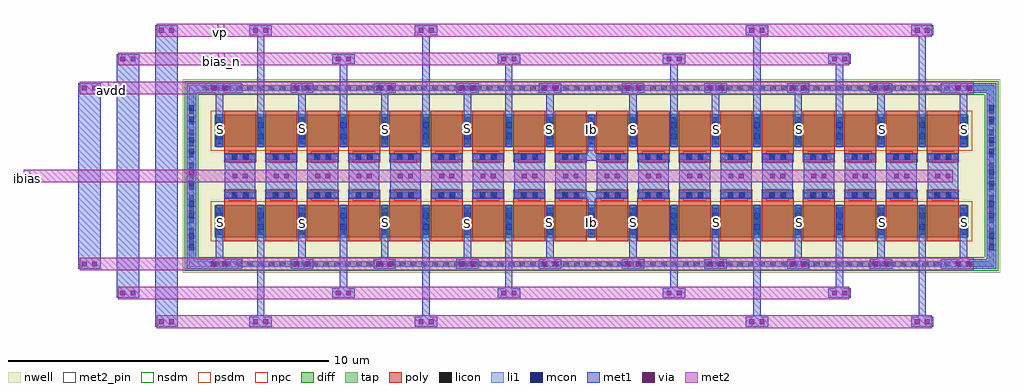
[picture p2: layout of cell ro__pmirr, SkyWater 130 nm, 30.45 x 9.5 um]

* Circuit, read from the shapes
.subckt ro__pmirr avdd bias_n ibias vp
XM1 vp ibias avdd avdd sky130_fd_pr__pfet_01v8 w=1 l=1 m=16
XM2 bias_n ibias avdd avdd sky130_fd_pr__pfet_01v8 w=1 l=1 m=16
XM3 ibias ibias avdd avdd sky130_fd_pr__pfet_01v8 w=1 l=1 m=4
.ends

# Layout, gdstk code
from math import pi, radians
import gdstk
lib = gdstk.Library(unit=1e-6, precision=1e-09)
def R(c, l, rs):  # rectangles x0, y0, x1, y1
    for r in rs: c.add(gdstk.rectangle(r[:2], r[2:], *l))
def A(c, l, x, y, w, h, nx, ny, dx, dy):  # array of equal rectangles
    R(c, l, [(x+i*dx, y+j*dy, x+i*dx+w, y+j*dy+h) for i in range(nx) for j in range(ny)])
nwell = (64, 20)
diff = (65, 20)
tap = (65, 44)
poly = (66, 20)
licon = (66, 44)
li1 = (67, 20)
mcon = (67, 44)
met1 = (68, 20)
via = (68, 44)
met2_pin = (69, 16)
met2 = (69, 20)
nsdm = (93, 44)
psdm = (94, 20)
npc = (95, 20)

ropm__m2 = lib.new_cell('ropm__M2')
R(ropm__m2, nwell, [(-0.97,-0.99,0.97,0.82)])
R(ropm__m2, diff, [(-0.79,-0.68,0.79,0.32)])
R(ropm__m2, poly, [(-0.5,-0.81,0.5,0.805)])
A(ropm__m2, licon, -0.73, -0.605, 0.17, 0.17, 1, 3, 0, 0.34)
A(ropm__m2, licon, 0.56, -0.605, 0.17, 0.17, 1, 3, 0, 0.34)
R(ropm__m2, licon, [(-0.255,0.555,-0.085,0.725), (0.085,0.555,0.255,0.725)])
R(ropm__m2, li1, [(-0.73,-0.7,-0.56,0.34), (0.56,-0.7,0.73,0.34), (-0.5,0.555,0.5,0.725)])
R(ropm__m2, mcon, [(-0.73,-0.445,-0.56,-0.275), (0.56,-0.445,0.73,-0.275), (-0.73,-0.085,-0.56,0.085), (0.56,-0.085,0.73,0.085), (-0.265,0.555,-0.095,0.725), (0.095,0.555,0.265,0.725)])
R(ropm__m2, met1, [(-0.76,-0.68,-0.53,0.32), (0.53,-0.68,0.76,0.32), (-0.48,0.525,0.48,0.755)])
R(ropm__m2, psdm, [(-0.915,-0.805,0.915,0.445)])
R(ropm__m2, npc, [(-0.355,0.455,0.355,0.825)])

via__m1_m2 = lib.new_cell('via__M1_M2')
R(via__m1_m2, met1, [(0,0.05,0.7,0.35)])
R(via__m1_m2, via, [(0.115,0.125,0.265,0.275), (0.435,0.125,0.585,0.275)])
R(via__m1_m2, met2, [(0.05,0,0.65,0.4)])

ropm__guardring_p = lib.new_cell('ropm__Guardring_P')
A(ropm__guardring_p, licon, -7.555, -25.51, 0.17, 0.17, 70, 1, 0.34, 0)
A(ropm__guardring_p, licon, -8.355, -24.81, 0.17, 0.17, 1, 13, 0, 0.34)
A(ropm__guardring_p, licon, 16.605, -24.81, 0.17, 0.17, 1, 13, 0, 0.34)
A(ropm__guardring_p, licon, -7.895, -20.015, 0.17, 0.17, 71, 1, 0.34, 0)
ropm__guardring_p.add(gdstk.FlexPath([(-8.355,-19.93),(16.69,-19.93),(16.69,-25.425),(-8.27,-25.425),(-8.27,-19.93)], 0.17, ends="flush", simple_path=True, layer=67, datatype=20))  # li1
ropm__guardring_p.add(gdstk.FlexPath([(-8.48,-19.93),(16.69,-19.93),(16.69,-25.425),(-8.27,-25.425),(-8.27,-19.93)], 0.42, ends="flush", simple_path=True, layer=93, datatype=44))  # nsdm
ropm__guardring_p.add(gdstk.FlexPath([(-8.355,-19.93),(16.69,-19.93),(16.69,-25.425),(-8.27,-25.425),(-8.27,-19.93)], 0.17, ends="flush", simple_path=True, layer=65, datatype=44))  # tap
ropm__guardring_p.add(gdstk.FlexPath([(-8.535,-19.93),(16.69,-19.93),(16.69,-25.425),(-8.27,-25.425),(-8.27,-19.93)], 0.53, ends="flush", simple_path=True, layer=64, datatype=20))  # nwell

via__li_m1 = lib.new_cell('via__LI_M1')
R(via__li_m1, li1, [(0.03,0.03,0.56,0.2)])
R(via__li_m1, mcon, [(0.03,0.03,0.2,0.2), (0.39,0.03,0.56,0.2)])
R(via__li_m1, met1, [(0,0,0.59,0.23)])

ropm__m1 = lib.new_cell('ropm__M1')
R(ropm__m1, nwell, [(-0.97,-0.99,0.97,0.82)])
R(ropm__m1, diff, [(-0.79,-0.68,0.79,0.32)])
R(ropm__m1, poly, [(-0.5,-0.81,0.5,0.805)])
A(ropm__m1, licon, -0.73, -0.605, 0.17, 0.17, 1, 3, 0, 0.34)
A(ropm__m1, licon, 0.56, -0.605, 0.17, 0.17, 1, 3, 0, 0.34)
R(ropm__m1, licon, [(-0.255,0.555,-0.085,0.725), (0.085,0.555,0.255,0.725)])
R(ropm__m1, li1, [(-0.73,-0.7,-0.56,0.34), (0.56,-0.7,0.73,0.34), (-0.5,0.555,0.5,0.725)])
R(ropm__m1, mcon, [(-0.73,-0.445,-0.56,-0.275), (0.56,-0.445,0.73,-0.275), (-0.73,-0.085,-0.56,0.085), (0.56,-0.085,0.73,0.085), (-0.265,0.555,-0.095,0.725), (0.095,0.555,0.265,0.725)])
R(ropm__m1, met1, [(-0.76,-0.68,-0.53,0.32), (0.53,-0.68,0.76,0.32), (-0.48,0.525,0.48,0.755)])
R(ropm__m1, psdm, [(-0.915,-0.805,0.915,0.445)])
R(ropm__m1, npc, [(-0.355,0.455,0.355,0.825)])

ropm__m3 = lib.new_cell('ropm__M3')
R(ropm__m3, nwell, [(-0.97,-0.99,0.97,0.82)])
R(ropm__m3, diff, [(-0.79,-0.68,0.79,0.32)])
R(ropm__m3, poly, [(-0.5,-0.81,0.5,0.805)])
A(ropm__m3, licon, -0.73, -0.605, 0.17, 0.17, 1, 3, 0, 0.34)
A(ropm__m3, licon, 0.56, -0.605, 0.17, 0.17, 1, 3, 0, 0.34)
R(ropm__m3, licon, [(-0.255,0.555,-0.085,0.725), (0.085,0.555,0.255,0.725)])
R(ropm__m3, li1, [(-0.73,-0.7,-0.56,0.34), (0.56,-0.7,0.73,0.34), (-0.5,0.555,0.5,0.725)])
R(ropm__m3, mcon, [(-0.73,-0.445,-0.56,-0.275), (0.56,-0.445,0.73,-0.275), (-0.73,-0.085,-0.56,0.085), (0.56,-0.085,0.73,0.085), (-0.265,0.555,-0.095,0.725), (0.095,0.555,0.265,0.725)])
R(ropm__m3, met1, [(-0.76,-0.68,-0.53,0.32), (0.53,-0.68,0.76,0.32), (-0.48,0.525,0.48,0.755)])
R(ropm__m3, psdm, [(-0.915,-0.805,0.915,0.445)])
R(ropm__m3, npc, [(-0.355,0.455,0.355,0.825)])

ro__pmirr = lib.new_cell('ro__pmirr')
R(ro__pmirr, nwell, [(5,1.735,30.49,7.76)])
A(ro__pmirr, met1, 6.3, 4.04, 0.96, 1.415, 18, 1, 1.29, 0)
R(ro__pmirr, met1, [(4.13,0.05,4.83,9.445), (2.93,0.95,3.63,8.545), (1.73,1.85,2.43,7.645)])
R(ro__pmirr, met2_pin, [(0.04,4.55,0.24,4.95), (2.665,7.295,2.865,7.695), (6.1,8.195,6.3,8.595), (6.085,9.095,6.285,9.495)])
ro__pmirr.add(gdstk.FlexPath([(17.745,3.835),(17.745,4.155),(17.58,4.155)], 0.23, ends="extended", simple_path=True, layer=68, datatype=20))  # met1
ro__pmirr.add(gdstk.FlexPath([(17.745,3.835),(17.745,4.155),(17.91,4.155)], 0.23, ends="extended", simple_path=True, layer=68, datatype=20))  # met1
ro__pmirr.add(gdstk.FlexPath([(11.295,3.72),(11.295,1.965)], 0.23, ends="extended", simple_path=True, layer=68, datatype=20))  # met1
ro__pmirr.add(gdstk.FlexPath([(13.875,3.72),(13.875,1.965)], 0.23, ends="extended", simple_path=True, layer=68, datatype=20))  # met1
ro__pmirr.add(gdstk.FlexPath([(16.455,3.72),(16.455,1.965)], 0.23, ends="extended", simple_path=True, layer=68, datatype=20))  # met1
ro__pmirr.add(gdstk.FlexPath([(19.035,3.72),(19.035,1.965)], 0.23, ends="extended", simple_path=True, layer=68, datatype=20))  # met1
ro__pmirr.add(gdstk.FlexPath([(21.615,3.72),(21.615,1.965)], 0.23, ends="extended", simple_path=True, layer=68, datatype=20))  # met1
ro__pmirr.add(gdstk.FlexPath([(24.195,3.72),(24.195,1.965)], 0.23, ends="extended", simple_path=True, layer=68, datatype=20))  # met1
ro__pmirr.add(gdstk.FlexPath([(6.135,3.72),(6.135,1.965)], 0.23, ends="extended", simple_path=True, layer=68, datatype=20))  # met1
ro__pmirr.add(gdstk.FlexPath([(26.775,3.72),(26.775,1.965)], 0.23, ends="extended", simple_path=True, layer=68, datatype=20))  # met1
ro__pmirr.add(gdstk.FlexPath([(29.355,3.72),(29.355,1.965)], 0.23, ends="extended", simple_path=True, layer=68, datatype=20))  # met1
ro__pmirr.add(gdstk.FlexPath([(8.715,3.72),(8.715,1.965)], 0.23, ends="extended", simple_path=True, layer=68, datatype=20))  # met1
ro__pmirr.add(gdstk.FlexPath([(15.165,3.72),(15.165,1.065)], 0.23, ends="extended", simple_path=True, layer=68, datatype=20))  # met1
ro__pmirr.add(gdstk.FlexPath([(20.325,3.72),(20.325,1.065)], 0.23, ends="extended", simple_path=True, layer=68, datatype=20))  # met1
ro__pmirr.add(gdstk.FlexPath([(10.005,3.72),(10.005,1.065)], 0.23, ends="extended", simple_path=True, layer=68, datatype=20))  # met1
ro__pmirr.add(gdstk.FlexPath([(25.485,3.72),(25.485,1.065)], 0.23, ends="extended", simple_path=True, layer=68, datatype=20))  # met1
ro__pmirr.add(gdstk.FlexPath([(7.425,3.72),(7.425,0.165)], 0.23, ends="extended", simple_path=True, layer=68, datatype=20))  # met1
ro__pmirr.add(gdstk.FlexPath([(12.585,3.72),(12.585,0.165)], 0.23, ends="extended", simple_path=True, layer=68, datatype=20))  # met1
ro__pmirr.add(gdstk.FlexPath([(22.905,3.72),(22.905,0.165)], 0.23, ends="extended", simple_path=True, layer=68, datatype=20))  # met1
ro__pmirr.add(gdstk.FlexPath([(28.065,3.72),(28.065,0.165)], 0.23, ends="extended", simple_path=True, layer=68, datatype=20))  # met1
ro__pmirr.add(gdstk.FlexPath([(17.745,5.66),(17.745,5.34),(17.58,5.34)], 0.23, ends="extended", simple_path=True, layer=68, datatype=20))  # met1
ro__pmirr.add(gdstk.FlexPath([(17.745,5.66),(17.745,5.34),(17.91,5.34)], 0.23, ends="extended", simple_path=True, layer=68, datatype=20))  # met1
ro__pmirr.add(gdstk.FlexPath([(11.295,5.775),(11.295,7.53)], 0.23, ends="extended", simple_path=True, layer=68, datatype=20))  # met1
ro__pmirr.add(gdstk.FlexPath([(13.875,5.775),(13.875,7.53)], 0.23, ends="extended", simple_path=True, layer=68, datatype=20))  # met1
ro__pmirr.add(gdstk.FlexPath([(16.455,5.775),(16.455,7.53)], 0.23, ends="extended", simple_path=True, layer=68, datatype=20))  # met1
ro__pmirr.add(gdstk.FlexPath([(19.035,5.775),(19.035,7.53)], 0.23, ends="extended", simple_path=True, layer=68, datatype=20))  # met1
ro__pmirr.add(gdstk.FlexPath([(21.615,5.775),(21.615,7.53)], 0.23, ends="extended", simple_path=True, layer=68, datatype=20))  # met1
ro__pmirr.add(gdstk.FlexPath([(24.195,5.775),(24.195,7.53)], 0.23, ends="extended", simple_path=True, layer=68, datatype=20))  # met1
ro__pmirr.add(gdstk.FlexPath([(6.135,5.775),(6.135,7.53)], 0.23, ends="extended", simple_path=True, layer=68, datatype=20))  # met1
ro__pmirr.add(gdstk.FlexPath([(26.775,5.775),(26.775,7.53)], 0.23, ends="extended", simple_path=True, layer=68, datatype=20))  # met1
ro__pmirr.add(gdstk.FlexPath([(29.355,5.775),(29.355,7.53)], 0.23, ends="extended", simple_path=True, layer=68, datatype=20))  # met1
ro__pmirr.add(gdstk.FlexPath([(8.715,5.775),(8.715,7.53)], 0.23, ends="extended", simple_path=True, layer=68, datatype=20))  # met1
ro__pmirr.add(gdstk.FlexPath([(15.165,5.775),(15.165,8.43)], 0.23, ends="extended", simple_path=True, layer=68, datatype=20))  # met1
ro__pmirr.add(gdstk.FlexPath([(20.325,5.775),(20.325,8.43)], 0.23, ends="extended", simple_path=True, layer=68, datatype=20))  # met1
ro__pmirr.add(gdstk.FlexPath([(10.005,5.775),(10.005,8.43)], 0.23, ends="extended", simple_path=True, layer=68, datatype=20))  # met1
ro__pmirr.add(gdstk.FlexPath([(25.485,5.775),(25.485,8.43)], 0.23, ends="extended", simple_path=True, layer=68, datatype=20))  # met1
ro__pmirr.add(gdstk.FlexPath([(7.425,5.775),(7.425,9.33)], 0.23, ends="extended", simple_path=True, layer=68, datatype=20))  # met1
ro__pmirr.add(gdstk.FlexPath([(12.585,5.775),(12.585,9.33)], 0.23, ends="extended", simple_path=True, layer=68, datatype=20))  # met1
ro__pmirr.add(gdstk.FlexPath([(22.905,5.775),(22.905,9.33)], 0.23, ends="extended", simple_path=True, layer=68, datatype=20))  # met1
ro__pmirr.add(gdstk.FlexPath([(28.065,5.775),(28.065,9.33)], 0.23, ends="extended", simple_path=True, layer=68, datatype=20))  # met1
ro__pmirr.add(gdstk.FlexPath([(6.7,7.495),(5.265,7.495),(5.265,2),(6.7,2)], 0.3, ends="extended", simple_path=True, layer=68, datatype=20))  # met1
ro__pmirr.add(gdstk.FlexPath([(28.79,7.495),(30.225,7.495),(30.225,2),(28.79,2)], 0.3, ends="extended", simple_path=True, layer=68, datatype=20))  # met1
ro__pmirr.add(gdstk.FlexPath([(29.47,7.495),(1.98,7.495)], 0.4, ends="extended", simple_path=True, layer=69, datatype=20))  # met2
ro__pmirr.add(gdstk.FlexPath([(29.47,2),(1.98,2)], 0.4, ends="extended", simple_path=True, layer=69, datatype=20))  # met2
ro__pmirr.add(gdstk.FlexPath([(28.81,4.75),(0.24,4.75)], 0.4, ends="extended", simple_path=True, layer=69, datatype=20))  # met2
ro__pmirr.add(gdstk.FlexPath([(25.585,8.395),(3.18,8.395)], 0.4, ends="extended", simple_path=True, layer=69, datatype=20))  # met2
ro__pmirr.add(gdstk.FlexPath([(25.585,1.1),(3.18,1.1)], 0.4, ends="extended", simple_path=True, layer=69, datatype=20))  # met2
ro__pmirr.add(gdstk.FlexPath([(28.165,9.295),(4.38,9.295)], 0.4, ends="extended", simple_path=True, layer=69, datatype=20))  # met2
ro__pmirr.add(gdstk.FlexPath([(28.165,0.2),(4.38,0.2)], 0.4, ends="extended", simple_path=True, layer=69, datatype=20))  # met2
ro__pmirr.add(gdstk.Reference(ropm__m2, (15.81,3.515)))
ro__pmirr.add(gdstk.Reference(ropm__m2, (15.81,5.98), x_reflection=True))
ro__pmirr.add(gdstk.Reference(via__m1_m2, (16.805,7.695), rotation=pi))
ro__pmirr.add(gdstk.Reference(via__m1_m2, (16.805,2.2), rotation=pi))
ro__pmirr.add(gdstk.Reference(via__m1_m2, (7.13,4.95), rotation=pi))
ro__pmirr.add(gdstk.Reference(via__m1_m2, (8.42,4.95), rotation=pi))
ro__pmirr.add(gdstk.Reference(via__m1_m2, (9.71,4.95), rotation=pi))
ro__pmirr.add(gdstk.Reference(via__m1_m2, (11,4.95), rotation=pi))
ro__pmirr.add(gdstk.Reference(via__m1_m2, (12.29,4.95), rotation=pi))
ro__pmirr.add(gdstk.Reference(via__m1_m2, (13.58,4.95), rotation=pi))
ro__pmirr.add(gdstk.Reference(via__m1_m2, (14.87,4.95), rotation=pi))
ro__pmirr.add(gdstk.Reference(via__m1_m2, (16.16,4.95), rotation=pi))
ro__pmirr.add(gdstk.Reference(via__m1_m2, (17.45,4.95), rotation=pi))
ro__pmirr.add(gdstk.Reference(via__m1_m2, (18.74,4.95), rotation=pi))
ro__pmirr.add(gdstk.Reference(via__m1_m2, (20.03,4.95), rotation=pi))
ro__pmirr.add(gdstk.Reference(via__m1_m2, (21.32,4.95), rotation=pi))
ro__pmirr.add(gdstk.Reference(via__m1_m2, (22.61,4.95), rotation=pi))
ro__pmirr.add(gdstk.Reference(via__m1_m2, (23.9,4.95), rotation=pi))
ro__pmirr.add(gdstk.Reference(via__m1_m2, (25.19,4.95), rotation=pi))
ro__pmirr.add(gdstk.Reference(via__m1_m2, (26.48,4.95), rotation=pi))
ro__pmirr.add(gdstk.Reference(via__m1_m2, (27.77,4.95), rotation=pi))
ro__pmirr.add(gdstk.Reference(via__m1_m2, (29.06,4.95), rotation=pi))
ro__pmirr.add(gdstk.Reference(ropm__guardring_p, (13.535,27.425)))
ro__pmirr.add(gdstk.Reference(via__li_m1, (5.15,4.985), rotation=3*pi/2))
ro__pmirr.add(gdstk.Reference(via__li_m1, (30.11,4.985), rotation=3*pi/2))
ro__pmirr.add(gdstk.Reference(ropm__m1, (17.1,5.98), x_reflection=True))
ro__pmirr.add(gdstk.Reference(ropm__m1, (18.39,5.98), x_reflection=True))
ro__pmirr.add(gdstk.Reference(ropm__m2, (20.97,5.98), x_reflection=True))
ro__pmirr.add(gdstk.Reference(via__m1_m2, (19.385,7.695), rotation=pi))
ro__pmirr.add(gdstk.Reference(via__m1_m2, (21.965,7.695), rotation=pi))
ro__pmirr.add(gdstk.Reference(via__m1_m2, (24.545,7.695), rotation=pi))
ro__pmirr.add(gdstk.Reference(via__m1_m2, (27.125,7.695), rotation=pi))
ro__pmirr.add(gdstk.Reference(via__m1_m2, (29.705,7.695), rotation=pi))
ro__pmirr.add(gdstk.Reference(ropm__m2, (19.68,5.98), x_reflection=True))
ro__pmirr.add(gdstk.Reference(ropm__m3, (23.55,5.98), x_reflection=True))
ro__pmirr.add(gdstk.Reference(ropm__m3, (22.26,5.98), x_reflection=True))
ro__pmirr.add(gdstk.Reference(ropm__m2, (26.13,5.98), x_reflection=True))
ro__pmirr.add(gdstk.Reference(via__m1_m2, (20.675,8.595), rotation=pi))
ro__pmirr.add(gdstk.Reference(via__m1_m2, (25.835,8.595), rotation=pi))
ro__pmirr.add(gdstk.Reference(via__m1_m2, (23.255,9.495), rotation=pi))
ro__pmirr.add(gdstk.Reference(via__m1_m2, (28.415,9.495), rotation=pi))
ro__pmirr.add(gdstk.Reference(ropm__m2, (24.84,5.98), x_reflection=True))
ro__pmirr.add(gdstk.Reference(ropm__m3, (28.71,5.98), x_reflection=True))
ro__pmirr.add(gdstk.Reference(via__li_m1, (30.11,6.985), rotation=3*pi/2))
ro__pmirr.add(gdstk.Reference(via__li_m1, (30.11,5.985), rotation=3*pi/2))
ro__pmirr.add(gdstk.Reference(ropm__m3, (27.42,5.98), x_reflection=True))
ro__pmirr.add(gdstk.Reference(via__li_m1, (16.75,7.61), rotation=pi))
ro__pmirr.add(gdstk.Reference(via__li_m1, (19.33,7.61), rotation=pi))
ro__pmirr.add(gdstk.Reference(via__li_m1, (21.91,7.61), rotation=pi))
ro__pmirr.add(gdstk.Reference(via__li_m1, (24.49,7.61), rotation=pi))
ro__pmirr.add(gdstk.Reference(via__li_m1, (27.07,7.61), rotation=pi))
ro__pmirr.add(gdstk.Reference(via__li_m1, (29.65,7.61), rotation=pi))
ro__pmirr.add(gdstk.Reference(via__m1_m2, (7.775,9.495), rotation=pi))
ro__pmirr.add(gdstk.Reference(via__m1_m2, (12.935,9.495), rotation=pi))
ro__pmirr.add(gdstk.Reference(ropm__m3, (13.23,5.98), x_reflection=True))
ro__pmirr.add(gdstk.Reference(ropm__m3, (11.94,5.98), x_reflection=True))
ro__pmirr.add(gdstk.Reference(via__m1_m2, (4.83,9.495), rotation=pi))
ro__pmirr.add(gdstk.Reference(via__m1_m2, (3.63,8.595), rotation=pi))
ro__pmirr.add(gdstk.Reference(via__m1_m2, (2.43,7.695), rotation=pi))
ro__pmirr.add(gdstk.Reference(via__m1_m2, (6.485,7.695), rotation=pi))
ro__pmirr.add(gdstk.Reference(via__li_m1, (5.15,6.985), rotation=3*pi/2))
ro__pmirr.add(gdstk.Reference(via__li_m1, (5.15,5.985), rotation=3*pi/2))
ro__pmirr.add(gdstk.Reference(via__m1_m2, (9.065,7.695), rotation=pi))
ro__pmirr.add(gdstk.Reference(via__m1_m2, (11.645,7.695), rotation=pi))
ro__pmirr.add(gdstk.Reference(via__m1_m2, (14.225,7.695), rotation=pi))
ro__pmirr.add(gdstk.Reference(ropm__m2, (14.52,5.98), x_reflection=True))
ro__pmirr.add(gdstk.Reference(via__li_m1, (5.15,6.985), rotation=3*pi/2))
ro__pmirr.add(gdstk.Reference(via__li_m1, (6.43,7.61), rotation=pi))
ro__pmirr.add(gdstk.Reference(via__li_m1, (6.43,7.61), rotation=pi))
ro__pmirr.add(gdstk.Reference(via__li_m1, (9.01,7.61), rotation=pi))
ro__pmirr.add(gdstk.Reference(via__li_m1, (11.59,7.61), rotation=pi))
ro__pmirr.add(gdstk.Reference(via__li_m1, (14.17,7.61), rotation=pi))
ro__pmirr.add(gdstk.Reference(ropm__m2, (10.65,5.98), x_reflection=True))
ro__pmirr.add(gdstk.Reference(ropm__m2, (9.36,5.98), x_reflection=True))
ro__pmirr.add(gdstk.Reference(via__m1_m2, (10.355,8.595), rotation=pi))
ro__pmirr.add(gdstk.Reference(via__m1_m2, (15.515,8.595), rotation=pi))
ro__pmirr.add(gdstk.Reference(ropm__m3, (8.07,5.98), x_reflection=True))
ro__pmirr.add(gdstk.Reference(ropm__m3, (6.78,5.98), x_reflection=True))
ro__pmirr.add(gdstk.Reference(via__m1_m2, (11.645,2.2), rotation=pi))
ro__pmirr.add(gdstk.Reference(via__m1_m2, (14.225,2.2), rotation=pi))
ro__pmirr.add(gdstk.Reference(ropm__m2, (14.52,3.515)))
ro__pmirr.add(gdstk.Reference(via__li_m1, (5.15,3.985), rotation=3*pi/2))
ro__pmirr.add(gdstk.Reference(via__li_m1, (5.15,2.985), rotation=3*pi/2))
ro__pmirr.add(gdstk.Reference(via__m1_m2, (10.355,1.3), rotation=pi))
ro__pmirr.add(gdstk.Reference(via__m1_m2, (15.515,1.3), rotation=pi))
ro__pmirr.add(gdstk.Reference(via__m1_m2, (7.775,0.4), rotation=pi))
ro__pmirr.add(gdstk.Reference(ropm__m3, (13.23,3.515)))
ro__pmirr.add(gdstk.Reference(ropm__m3, (11.94,3.515)))
ro__pmirr.add(gdstk.Reference(ropm__m2, (10.65,3.515)))
ro__pmirr.add(gdstk.Reference(ropm__m2, (9.36,3.515)))
ro__pmirr.add(gdstk.Reference(via__m1_m2, (12.935,0.4), rotation=pi))
ro__pmirr.add(gdstk.Reference(via__m1_m2, (4.83,0.4), rotation=pi))
ro__pmirr.add(gdstk.Reference(ropm__m3, (8.07,3.515)))
ro__pmirr.add(gdstk.Reference(via__m1_m2, (3.63,1.3), rotation=pi))
ro__pmirr.add(gdstk.Reference(ropm__m3, (6.78,3.515)))
ro__pmirr.add(gdstk.Reference(via__m1_m2, (2.43,2.2), rotation=pi))
ro__pmirr.add(gdstk.Reference(via__m1_m2, (6.485,2.2), rotation=pi))
ro__pmirr.add(gdstk.Reference(via__m1_m2, (9.065,2.2), rotation=pi))
ro__pmirr.add(gdstk.Reference(via__li_m1, (6.43,2.115), rotation=pi))
ro__pmirr.add(gdstk.Reference(via__li_m1, (9.01,2.115), rotation=pi))
ro__pmirr.add(gdstk.Reference(via__li_m1, (11.59,2.115), rotation=pi))
ro__pmirr.add(gdstk.Reference(via__li_m1, (14.17,2.115), rotation=pi))
ro__pmirr.add(gdstk.Reference(via__m1_m2, (19.385,2.2), rotation=pi))
ro__pmirr.add(gdstk.Reference(via__m1_m2, (21.965,2.2), rotation=pi))
ro__pmirr.add(gdstk.Reference(via__m1_m2, (24.545,2.2), rotation=pi))
ro__pmirr.add(gdstk.Reference(via__li_m1, (30.11,3.985), rotation=3*pi/2))
ro__pmirr.add(gdstk.Reference(via__li_m1, (30.11,2.985), rotation=3*pi/2))
ro__pmirr.add(gdstk.Reference(via__m1_m2, (27.125,2.2), rotation=pi))
ro__pmirr.add(gdstk.Reference(via__m1_m2, (29.705,2.2), rotation=pi))
ro__pmirr.add(gdstk.Reference(via__m1_m2, (23.255,0.4), rotation=pi))
ro__pmirr.add(gdstk.Reference(via__m1_m2, (28.415,0.4), rotation=pi))
ro__pmirr.add(gdstk.Reference(ropm__m3, (27.42,3.515)))
ro__pmirr.add(gdstk.Reference(ropm__m3, (23.55,3.515)))
ro__pmirr.add(gdstk.Reference(ropm__m3, (22.26,3.515)))
ro__pmirr.add(gdstk.Reference(ropm__m2, (20.97,3.515)))
ro__pmirr.add(gdstk.Reference(ropm__m2, (19.68,3.515)))
ro__pmirr.add(gdstk.Reference(ropm__m2, (26.13,3.515)))
ro__pmirr.add(gdstk.Reference(ropm__m2, (24.84,3.515)))
ro__pmirr.add(gdstk.Reference(ropm__m3, (28.71,3.515)))
ro__pmirr.add(gdstk.Reference(ropm__m1, (17.1,3.515)))
ro__pmirr.add(gdstk.Reference(via__m1_m2, (20.675,1.3), rotation=pi))
ro__pmirr.add(gdstk.Reference(via__m1_m2, (25.835,1.3), rotation=pi))
ro__pmirr.add(gdstk.Reference(ropm__m1, (18.39,3.515)))
ro__pmirr.add(gdstk.Reference(via__li_m1, (16.75,2.115), rotation=pi))
ro__pmirr.add(gdstk.Reference(via__li_m1, (19.33,2.115), rotation=pi))
ro__pmirr.add(gdstk.Reference(via__li_m1, (21.91,2.115), rotation=pi))
ro__pmirr.add(gdstk.Reference(via__li_m1, (24.49,2.115), rotation=pi))
ro__pmirr.add(gdstk.Reference(via__li_m1, (27.07,2.115), rotation=pi))
ro__pmirr.add(gdstk.Reference(via__li_m1, (29.65,2.115), rotation=pi))
ro__pmirr.add(gdstk.Label('S', (13.875,3.25), layer=83, texttype=44))
ro__pmirr.add(gdstk.Label('S', (16.44,3.295), layer=83, texttype=44))
ro__pmirr.add(gdstk.Label('S', (19.07,3.295), layer=83, texttype=44))
ro__pmirr.add(gdstk.Label('Ib', (17.76,3.29), layer=83, texttype=44))
ro__pmirr.add(gdstk.Label('S', (21.65,3.295), layer=83, texttype=44))
ro__pmirr.add(gdstk.Label('S', (8.715,3.25), layer=83, texttype=44))
ro__pmirr.add(gdstk.Label('S', (26.81,3.295), layer=83, texttype=44))
ro__pmirr.add(gdstk.Label('S', (29.39,3.295), layer=83, texttype=44))
ro__pmirr.add(gdstk.Label('S', (24.23,3.295), layer=83, texttype=44))
ro__pmirr.add(gdstk.Label('S', (11.33,3.295), layer=83, texttype=44))
ro__pmirr.add(gdstk.Label('S', (13.875,6.245), layer=83, texttype=44))
ro__pmirr.add(gdstk.Label('S', (6.17,3.295), layer=83, texttype=44))
ro__pmirr.add(gdstk.Label('S', (16.44,6.2), layer=83, texttype=44))
ro__pmirr.add(gdstk.Label('S', (19.07,6.2), layer=83, texttype=44))
ro__pmirr.add(gdstk.Label('Ib', (17.76,6.205), layer=83, texttype=44))
ro__pmirr.add(gdstk.Label('S', (21.65,6.2), layer=83, texttype=44))
ro__pmirr.add(gdstk.Label('S', (8.715,6.245), layer=83, texttype=44))
ro__pmirr.add(gdstk.Label('S', (26.81,6.2), layer=83, texttype=44))
ro__pmirr.add(gdstk.Label('S', (29.39,6.2), layer=83, texttype=44))
ro__pmirr.add(gdstk.Label('S', (24.23,6.2), layer=83, texttype=44))
ro__pmirr.add(gdstk.Label('S', (11.33,6.2), layer=83, texttype=44))
ro__pmirr.add(gdstk.Label('S', (6.17,6.2), layer=83, texttype=44))
ro__pmirr.add(gdstk.Label('ibias', (0.15,4.685), layer=69, texttype=16))
ro__pmirr.add(gdstk.Label('avdd', (2.755,7.42), layer=69, texttype=16))
ro__pmirr.add(gdstk.Label('bias_n', (6.19,8.32), layer=69, texttype=16))
ro__pmirr.add(gdstk.Label('vp', (6.175,9.22), layer=69, texttype=16))

lib.write_gds('ro__pmirr.gds')
